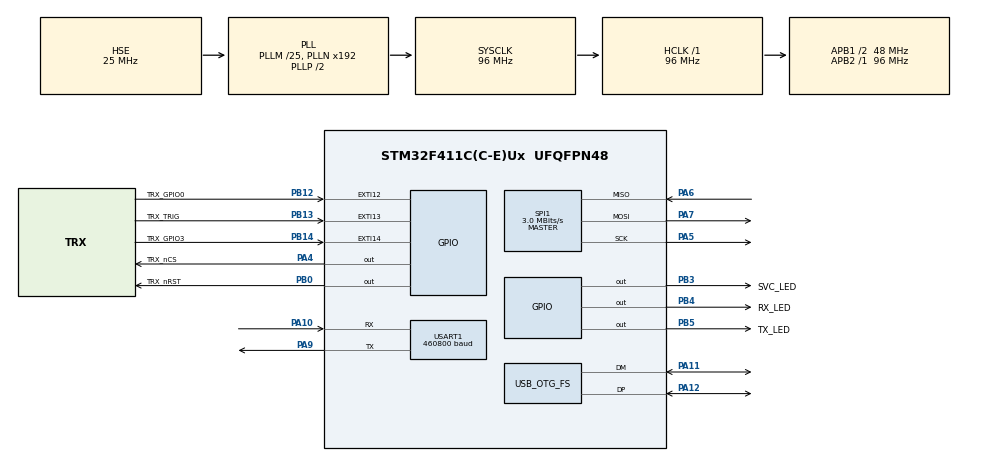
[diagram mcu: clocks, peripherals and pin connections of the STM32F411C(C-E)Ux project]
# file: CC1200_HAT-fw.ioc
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Dma.Request0=USART1_RX
Dma.Request1=USART1_TX
Dma.USART1_RX.0.Direction=DMA_PERIPH_TO_MEMORY
Dma.USART1_RX.0.FIFOMode=DMA_FIFOMODE_DISABLE
Dma.USART1_RX.0.Instance=DMA2_Stream2
Dma.USART1_RX.0.MemDataAlignment=DMA_MDATAALIGN_BYTE
Dma.USART1_RX.0.MemInc=DMA_MINC_ENABLE
Dma.USART1_RX.0.Mode=DMA_CIRCULAR
Dma.USART1_RX.0.PeriphDataAlignment=DMA_PDATAALIGN_BYTE
Dma.USART1_RX.0.PeriphInc=DMA_PINC_DISABLE
Dma.USART1_RX.0.Priority=DMA_PRIORITY_LOW
Dma.USART1_TX.1.Direction=DMA_MEMORY_TO_PERIPH
Dma.USART1_TX.1.FIFOMode=DMA_FIFOMODE_DISABLE
Dma.USART1_TX.1.Instance=DMA2_Stream7
Dma.USART1_TX.1.MemDataAlignment=DMA_MDATAALIGN_BYTE
Dma.USART1_TX.1.MemInc=DMA_MINC_ENABLE
Dma.USART1_TX.1.Mode=DMA_NORMAL
Dma.USART1_TX.1.PeriphDataAlignment=DMA_PDATAALIGN_BYTE
Dma.USART1_TX.1.PeriphInc=DMA_PINC_DISABLE
Dma.USART1_TX.1.Priority=DMA_PRIORITY_LOW
Mcu.Family=STM32F4
Mcu.Name=STM32F411C(C-E)Ux
Mcu.Package=UFQFPN48
NVIC.DMA2_Stream2_IRQn=true\:0\:0\:false\:false\:true\:false\:true\:true
NVIC.DMA2_Stream7_IRQn=true\:0\:0\:false\:false\:true\:false\:true\:true
NVIC.EXTI15_10_IRQn=true\:0\:0\:true\:false\:true\:true\:true\:true
NVIC.PriorityGroup=NVIC_PRIORITYGROUP_4
NVIC.SPI1_IRQn=true\:0\:0\:true\:false\:true\:true\:true\:true
NVIC.TIM1_TRG_COM_TIM11_IRQn=true\:0\:0\:true\:false\:true\:true\:true\:true
NVIC.TIM1_UP_TIM10_IRQn=true\:2\:0\:true\:false\:true\:true\:true\:true
NVIC.USART1_IRQn=true\:1\:0\:true\:false\:true\:true\:true\:true
PA10.Mode=Asynchronous
PA10.Signal=USART1_RX
PA11.Mode=Device_Only
PA11.Signal=USB_OTG_FS_DM
PA12.Mode=Device_Only
PA12.Signal=USB_OTG_FS_DP
PA13.Mode=Serial_Wire
PA13.Signal=SYS_JTMS-SWDIO
PA14.Mode=Serial_Wire
PA14.Signal=SYS_JTCK-SWCLK
PA4.GPIO_Label=TRX_nCS
PA4.GPIO_Speed=GPIO_SPEED_FREQ_VERY_HIGH
PA4.Signal=GPIO_Output
PA5.Mode=Full_Duplex_Master
PA5.Signal=SPI1_SCK
PA6.Mode=Full_Duplex_Master
PA6.Signal=SPI1_MISO
PA7.Mode=Full_Duplex_Master
PA7.Signal=SPI1_MOSI
PA9.Mode=Asynchronous
PA9.Signal=USART1_TX
PB0.GPIO_Label=TRX_nRST
PB0.GPIO_Speed=GPIO_SPEED_FREQ_VERY_HIGH
PB0.Signal=GPIO_Output
PB12.GPIO_Label=TRX_GPIO0
PB12.Signal=GPXTI12
PB13.GPIO_Label=TRX_TRIG
PB13.Signal=GPXTI13
PB14.GPIO_Label=TRX_GPIO3
PB14.GPIO_ModeDefaultEXTI=GPIO_MODE_IT_RISING
PB14.Signal=GPXTI14
PB3.GPIO_Label=SVC_LED
PB3.GPIO_Speed=GPIO_SPEED_FREQ_VERY_HIGH
PB3.Signal=GPIO_Output
PB4.GPIO_Label=RX_LED
PB4.GPIO_Speed=GPIO_SPEED_FREQ_VERY_HIGH
PB4.Signal=GPIO_Output
PB5.GPIO_Label=TX_LED
PB5.GPIO_Speed=GPIO_SPEED_FREQ_VERY_HIGH
PB5.Signal=GPIO_Output
PH0\ -\ OSC_IN.Mode=HSE-External-Oscillator
PH0\ -\ OSC_IN.Signal=RCC_OSC_IN
PH1\ -\ OSC_OUT.Mode=HSE-External-Oscillator
PH1\ -\ OSC_OUT.Signal=RCC_OSC_OUT
ProjectManager.HeapSize=0x200
ProjectManager.StackSize=0x400
ProjectManager.TargetToolchain=STM32CubeIDE
RCC.48MHZClocksFreq_Value=48000000
RCC.AHBFreq_Value=96000000
RCC.APB1CLKDivider=RCC_HCLK_DIV2
RCC.APB1Freq_Value=48000000
RCC.APB1TimFreq_Value=96000000
RCC.APB2Freq_Value=96000000
RCC.APB2TimFreq_Value=96000000
RCC.CortexFreq_Value=96000000
RCC.HCLKFreq_Value=96000000
RCC.HSE_VALUE=25000000
RCC.HSI_VALUE=16000000
RCC.LSE_VALUE=32768
RCC.PLLM=25
RCC.SYSCLKFreq_VALUE=96000000
RCC.SYSCLKSource=RCC_SYSCLKSOURCE_PLLCLK
RCC.VCOOutputFreq_Value=192000000
SPI1.BaudRatePrescaler=SPI_BAUDRATEPRESCALER_32
SPI1.CalculateBaudRate=3.0 MBits/s
SPI1.Direction=SPI_DIRECTION_2LINES
SPI1.Mode=SPI_MODE_MASTER
SPI1.VirtualType=VM_MASTER
TIM10.Period=20-1
TIM10.Prescaler=9600-1
TIM11.Period=10-1
TIM11.Prescaler=400-1
USART1.BaudRate=460800
USART1.VirtualMode=VM_ASYNC
USB_OTG_FS.VirtualMode=Device_Only
VP_TIM10_VS_ClockSourceINT.Mode=Enable_Timer
VP_TIM11_VS_ClockSourceINT.Mode=Enable_Timer
board=custom

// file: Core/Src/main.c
/* USER CODE BEGIN Header */
/**
  ******************************************************************************
  * @file           : main.c
  * @brief          : Main program body
  ******************************************************************************
  * @attention
  *
  * Copyright (c) 2024 STMicroelectronics.
  * All rights reserved.
  *
  * This software is licensed under terms that can be found in the LICENSE file
  * in the root directory of this software component.
  * If no LICENSE file comes with this software, it is provided AS-IS.
  *
  ******************************************************************************
  */
/* USER CODE END Header */
#include "main.h"

/* USER CODE BEGIN Includes */
#include <math.h>
#include <string.h>
#include <stdio.h>
#include <stdarg.h>

#include "interface_cmds.h"
#include "enums.h"
#include "cc1200.h"
/* USER CODE END Includes */

/* USER CODE BEGIN PD */
#define IDENT_STR				"CC1200-HAT 420-450 MHz\nFW v2.3 by Wojciech SP5WWP"
#define UART_LONG_BUF_SIZE		1024				//buffer length for UART (baseband transfers)
#define UART_SHORT_BUF_SIZE		128					//buffer length for UART
#define SHORT_TXQ_SIZE			8					//TX queue length (short messages)
#define LONG_TXQ_SIZE   		3					//TX queue length (baseband transfers) - ring holds LONG_TXQ_SIZE-1
#define BSB_SIZE				960					//size of baseband chunks
#define BSB_TX_BUFF_SIZE		(10*BSB_SIZE)		//large buffer for baseband
/* USER CODE END PD */

/* USER CODE BEGIN PM */
#define FIX_TIMER_TRIGGER(handle_ptr) (__HAL_TIM_CLEAR_FLAG(handle_ptr, TIM_SR_UIF))
/* USER CODE END PM */

SPI_HandleTypeDef hspi1;

TIM_HandleTypeDef htim10;
TIM_HandleTypeDef htim11;

UART_HandleTypeDef huart1;
DMA_HandleTypeDef hdma_usart1_rx;
DMA_HandleTypeDef hdma_usart1_tx;

PCD_HandleTypeDef hpcd_USB_OTG_FS;

/* USER CODE BEGIN PV */
//main loop counter
uint32_t rev_cnt;

//device config
trx_data_t trx_data;										//CC1200 config

//device state
uint32_t dev_err = ERR_OK;									//default state - no error

//buffers and interface stuff
uint8_t uart_rx_buf[UART_LONG_BUF_SIZE];					//DMA UART RX buffer
uint8_t rxb[UART_LONG_BUF_SIZE];							//packet data UART RX buffer
volatile uint16_t rx_count;
volatile uint16_t rx_expected;
uint16_t uart_rx_tail;										//for the UART RX ring buffer
volatile uint8_t uart_rx_timeout;							//inter-byte timeout elapsed (set by TIM10)
volatile uint8_t uart_rx_restart;							//UART RX DMA needs restarting (set by error callback)

enum txq_inflight_t											//which UART TX queue owns the ongoing DMA transfer
{
	TXQ_NONE,
	TXQ_SHORT,
	TXQ_LONG
};

volatile enum txq_inflight_t tx_inflight = TXQ_NONE;

typedef struct												//TX queue - short packets
{
	uint8_t  data[UART_SHORT_BUF_SIZE];
	uint16_t len;
} txq_queue_t;

txq_queue_t txq[SHORT_TXQ_SIZE];							//TX queue - short packets

volatile uint8_t txq_head;
volatile uint8_t txq_tail;

typedef struct												//TX queue - long packets
{
    uint8_t data[UART_LONG_BUF_SIZE];
    uint16_t len;
} bsbq_queue_t;

bsbq_queue_t bsbq[LONG_TXQ_SIZE];							//TX queue - long packets

volatile uint8_t bsbq_head;
volatile uint8_t bsbq_tail;

uint8_t bsb_rx[2*BSB_SIZE];									//rx samples
volatile uint8_t rx_pend;									//pending rx sample read?
uint16_t rx_num_wr;

uint8_t circ_bsb_tx_buff[BSB_TX_BUFF_SIZE];
volatile uint16_t circ_bsb_buff_tail;
volatile uint16_t circ_bsb_buff_head;

volatile enum trx_state_t trx_state = TRX_IDLE;				//transmitter state

//misc
uint8_t dbg_enabled = 0;									//debug strings enabled?
char dbg_msg[128];
/* USER CODE END PV */

void SystemClock_Config(void);
static void MX_GPIO_Init(void);
static void MX_DMA_Init(void);
static void MX_SPI1_Init(void);
static void MX_USART1_UART_Init(void);
static void MX_USB_OTG_FS_PCD_Init(void);
static void MX_TIM10_Init(void);
static void MX_TIM11_Init(void);

/* USER CODE BEGIN 0 */
void set_uart_timeout(uint8_t ms)
{
	TIM10->ARR = (uint32_t)ms*10 - 1;
}

//start the next queued UART transfer if the UART is idle
//must not be preempted by the UART/DMA interrupts - call from an ISR or via uart_tx_kick_safe()
static void uart_tx_kick(void)
{
	if (tx_inflight != TXQ_NONE)
		return;

	//short responses first - they are tiny and the host is usually waiting for them
	if (txq_tail != txq_head)
	{
		tx_inflight = TXQ_SHORT;
		if (HAL_UART_Transmit_DMA(&huart1, txq[txq_tail].data, txq[txq_tail].len) != HAL_OK)
			tx_inflight = TXQ_NONE; //leave it queued, retried on the next kick
	}
	else if (bsbq_tail != bsbq_head)
	{
		tx_inflight = TXQ_LONG;
		if (HAL_UART_Transmit_DMA(&huart1, bsbq[bsbq_tail].data, bsbq[bsbq_tail].len) != HAL_OK)
			tx_inflight = TXQ_NONE;
	}
}

//same as above, safe to call from the main loop
static void uart_tx_kick_safe(void)
{
	uint32_t primask = __get_PRIMASK();
	__disable_irq();
	uart_tx_kick();
	__set_PRIMASK(primask);
}

void interface_resp_short(enum cmd_t cid, const uint8_t *resp, uint16_t pld_len)
{
	uint16_t len = pld_len+3;

	//drop oversized
	if (len > UART_SHORT_BUF_SIZE)
		return;

	//next queue entry
	uint8_t next = (txq_head+1) % SHORT_TXQ_SIZE;

	//queue full, drop packet
	if (next == txq_tail)
		return;

	txq[txq_head].data[0] = cid;
	memcpy(&txq[txq_head].data[1], (uint8_t*)&len, sizeof(uint16_t));
	memcpy(&txq[txq_head].data[3], resp, pld_len);
	txq[txq_head].len = len;
	__DMB();
	txq_head = next;

	//if UART TX is idle, start transmission
	uart_tx_kick_safe();
}

void interface_resp_long(enum cmd_t cid, const uint8_t *resp, uint16_t pld_len)
{
	uint16_t len = pld_len+3;

	//drop oversized
	if (len > UART_LONG_BUF_SIZE)
		return;

	//next queue entry
	uint8_t next = (bsbq_head+1) % LONG_TXQ_SIZE;

	//queue full, drop packet
	if (next == bsbq_tail)
		return;

	bsbq[bsbq_head].data[0] = cid;
	memcpy(&bsbq[bsbq_head].data[1], (uint8_t*)&len, sizeof(uint16_t));
	memcpy(&bsbq[bsbq_head].data[3], resp, pld_len);
	bsbq[bsbq_head].len = len;
	__DMB();
	bsbq_head = next;

	//if UART TX is idle, start transmission
	uart_tx_kick_safe();
}

void interface_resp_byte(enum cmd_t cmd, uint8_t resp)
{
	//single-byte response (4 bytes total)
	interface_resp_short(cmd, &resp, 1);
}

void dbg_txt(const char *s)
{
	//send short text messages for debugging
	if (dbg_enabled)
		interface_resp_short(CMD_DBG_TXT, (uint8_t*)s, strlen(s));
}

//begin a burst read of CFM_RX_DATA_OUT - CS stays low until rx_burst_end()
static void rx_burst_begin(void)
{
	uint8_t header[2] = {0x2F|0xC0, 0x7D};	//CFM_RX_DATA_OUT, burst access
	trx_set_CS(0);							//CS low
	HAL_SPI_Transmit(&hspi1, header, 2, 10);	//send 2-byte header
}

static void rx_burst_end(void)
{
	trx_set_CS(1);
}

//number of baseband samples waiting in the TX buffer
static uint16_t tx_buff_fill(void)
{
	uint16_t tail = circ_bsb_buff_tail;
	uint16_t head = circ_bsb_buff_head;
	return (head - tail + BSB_TX_BUFF_SIZE) % BSB_TX_BUFF_SIZE;
}

void parse_cmd(const uint8_t *cmd_buff)
{
	uint8_t cid = cmd_buff[0];
	int16_t pld_len; memcpy((uint8_t*)&pld_len, &cmd_buff[1], sizeof(pld_len)); pld_len-=3;
	const uint8_t *pld = &cmd_buff[3];

	float f_val;
	int8_t i8_val;
	uint8_t u8_val;
	int16_t i16_val;
	//uint16_t u16_val;
	//int32_t i32_val;
	uint32_t u32_val;

	/*sprintf(dbg_msg, "CMD%d LEN%d", cid, pld_len);
	dbg_txt(dbg_msg);*/

	switch (cid)
	{
		case CMD_PING:
			interface_resp_short(cid, (uint8_t*)&dev_err, sizeof(dev_err));
		break;

		case CMD_SET_RX_FREQ:
			if (pld_len == sizeof(uint32_t))
			{
				memcpy((uint8_t*)&u32_val, pld, sizeof(uint32_t));
			}
			else
			{
				interface_resp_byte(cid, ERR_CMD_MALFORM);
				break;
			}

			if(u32_val>=420e6 && u32_val<=450e6)
			{
				trx_data.rx_frequency = u32_val;
				interface_resp_byte(cid, ERR_OK);
			}
			else
			{
				interface_resp_byte(cid, ERR_RANGE);
			}
		break;

		case CMD_SET_TX_FREQ:
			if (pld_len == sizeof(uint32_t))
			{
				memcpy((uint8_t*)&u32_val, pld, sizeof(uint32_t));
			}
			else
			{
				interface_resp_byte(cid, ERR_CMD_MALFORM);
				break;
			}

			if(u32_val>=420e6 && u32_val<=450e6)
			{
				trx_data.tx_frequency = u32_val;
				interface_resp_byte(cid, ERR_OK);
			}
			else
			{
				interface_resp_byte(cid, ERR_RANGE);
			}
		break;

		case CMD_SET_TX_POWER:
			if (pld_len == 1)
			{
				i8_val = *(int8_t*)pld;
			}
			else
			{
				interface_resp_byte(cid, ERR_CMD_MALFORM);
				break;
			}

			f_val = i8_val*0.25f; //convert TX power to dBm
			if(f_val>=-16.0f && f_val<=14.0f) //-16 to 14 dBm (raw values of 0x03 to 0x3F)
			{
				trx_data.pwr = floorf((f_val+18.0f)*2.0f-1.0f);
				//power setting is now stored in the struct
				//the change will be applied at the next RX->TX switch
				interface_resp_byte(cid, ERR_OK);
			}
			else
			{
				interface_resp_byte(cid, ERR_RANGE);
			}
		break;

		case CMD_SET_FREQ_CORR:
			if (pld_len == sizeof(int16_t))
			{
				memcpy((uint8_t*)&i16_val, pld, sizeof(int16_t));
			}
			else
			{
				interface_resp_byte(cid, ERR_CMD_MALFORM);
				break;
			}

			if(i16_val>=-200 && i16_val<=200) //keep it within a sane range
			{
				trx_data.fcorr = i16_val;
				interface_resp_byte(cid, ERR_OK);
			}
			else
			{
				interface_resp_byte(cid, ERR_RANGE);
			}
		break;

		case CMD_SET_AFC:
			if (pld_len == 1)
			{
				u8_val = *pld;
			}
			else
			{
				interface_resp_byte(cid, ERR_CMD_MALFORM);
				break;
			}

			//the change will be applied at the next TX->RX switch
			trx_data.afc = u8_val==0 ? 0 : 1;
			interface_resp_byte(cid, ERR_OK);
		break;

		case CMD_TX_START:
			if (pld_len == 1)
			{
				u8_val = *pld;
			}
			else
			{
				interface_resp_byte(cid, ERR_CMD_MALFORM);
				break;
			}

			if(u8_val) //start
			{
				if(trx_state==TRX_IDLE && dev_err==ERR_OK)
				{
					//reset the buffer and state machine
					memset(circ_bsb_tx_buff, 0, sizeof(circ_bsb_tx_buff));
					circ_bsb_buff_tail = 0;
					circ_bsb_buff_head = 0;

					//config CC1200
					trx_state = TRX_TX;
					trx_config(MODE_TX, trx_data);
					HAL_Delay(10);

					//switch CC1200 to TX
					trx_write_cmd(STR_STX);

					//initiate samples transfer (write)
					uint8_t header[2]={0x2F|0x40, 0x7E}; //CFM_TX_DATA_IN, burst access
					trx_set_CS(0); //CS low
					HAL_SPI_Transmit(&hspi1, header, 2, 2); //send 2-byte header

					//signal TX state with LEDs
					HAL_GPIO_WritePin(TX_LED_GPIO_Port, TX_LED_Pin, 1);
					HAL_GPIO_WritePin(RX_LED_GPIO_Port, RX_LED_Pin, 0);

					//enable external baseband sample triggering
					HAL_NVIC_EnableIRQ(EXTI15_10_IRQn);

					//reply
					interface_resp_byte(cid, ERR_OK);
				}
				else
				{
					if (dev_err!=ERR_OK)
						interface_resp_byte(cid, ERR_OTHER);
					else
						interface_resp_byte(cid, ERR_BUSY);
				}
			}
			else //stop
			{
				//note: samples still in the TX buffer are discarded here
				//hosts can poll CMD_GET_BSB_BUFF until it reads 0 before stopping
				if(trx_state==TRX_TX && dev_err==ERR_OK)
				{
					//disable external baseband sample triggering
					HAL_NVIC_DisableIRQ(EXTI15_10_IRQn);

					//finalize samples transfer
					trx_set_CS(1); //CS high

					//switch state
					trx_state = TRX_IDLE;

					//config CC1200
					trx_config(MODE_RX, trx_data);
					HAL_Delay(10);

					//switch CC1200 to RX state
					trx_write_cmd(STR_SRX);

					//turn off the TX LED
					HAL_GPIO_WritePin(TX_LED_GPIO_Port, TX_LED_Pin, 0);

					//reply
					interface_resp_byte(cid, ERR_OK);
				}
				else
				{
					if (dev_err!=ERR_OK)
						interface_resp_byte(cid, ERR_OTHER);
					else
						interface_resp_byte(cid, ERR_NOP);
				}
			}
		break;

		case CMD_RX_START:
			if (pld_len == 1)
			{
				u8_val = *pld;
			}
			else
			{
				interface_resp_byte(cid, ERR_CMD_MALFORM);
				break;
			}

			if(u8_val) //start
			{
				if(trx_state==TRX_IDLE && dev_err==ERR_OK)
				{
					//reset buffers
					memset(bsb_rx, 0, sizeof(bsb_rx));
					rx_pend = 0;
					rx_num_wr = 0;

					//config CC1200
					trx_config(MODE_RX, trx_data);
					HAL_Delay(10);

					//switch CC1200 to RX
					trx_write_cmd(STR_SRX);

					//initiate samples transfer (readout)
					rx_burst_begin();

					//for some reason, the external signal runs at 75.7582kHz instead of expected 24kHz
					FIX_TIMER_TRIGGER(&htim11);
					TIM11->CNT = 0;
					rx_pend = 0;
					trx_state = TRX_RX;
					HAL_TIM_Base_Start_IT(&htim11);

					//signal RX state with LEDs
					HAL_GPIO_WritePin(RX_LED_GPIO_Port, RX_LED_Pin, 1);
					HAL_GPIO_WritePin(TX_LED_GPIO_Port, TX_LED_Pin, 0);

					//reply
					interface_resp_byte(cid, ERR_OK);
				}
				else
				{
					if (dev_err!=ERR_OK)
						interface_resp_byte(cid, ERR_OTHER);
					else
						interface_resp_byte(cid, ERR_BUSY);
				}
			}
			else //stop
			{
				if (trx_state==TRX_RX && dev_err==ERR_OK)
				{
					//disable read baseband trigger signal
					HAL_TIM_Base_Stop_IT(&htim11);

					//switch device state (before finalizing, so a stale tick is ignored)
					trx_state = TRX_IDLE;
					rx_pend = 0;

					//finalize SPI samples transfer
					rx_burst_end();

					//turn off the RX LED
					HAL_GPIO_WritePin(RX_LED_GPIO_Port, RX_LED_Pin, 0);

					//reply
					interface_resp_byte(cid, ERR_OK); //OK
				}
				else
				{
					if (dev_err!=ERR_OK)
						interface_resp_byte(cid, ERR_OTHER);
					else
						interface_resp_byte(cid, ERR_NOP);
				}
			}
		break;

		case CMD_TX_DATA:
			if (pld_len != BSB_SIZE)
			{
				interface_resp_byte(cid, ERR_CMD_MALFORM);
			}
			else if (trx_state != TRX_TX)
			{
				interface_resp_byte(cid, ERR_NOP);
			}
			//enough space in the circular buffer?
			else if ((circ_bsb_buff_tail - circ_bsb_buff_head - 1 + BSB_TX_BUFF_SIZE) % BSB_TX_BUFF_SIZE >= BSB_SIZE)
			{
				u32_val = BSB_TX_BUFF_SIZE - circ_bsb_buff_head;

				if (u32_val >= BSB_SIZE)
				{
					memcpy(&circ_bsb_tx_buff[circ_bsb_buff_head], pld, BSB_SIZE);
				}
				else
				{
					memcpy(&circ_bsb_tx_buff[circ_bsb_buff_head], pld, u32_val);
					memcpy(&circ_bsb_tx_buff[0], pld + u32_val, BSB_SIZE - u32_val);
				}

				__DMB(); //samples must be in memory before the ISR can see the new head
				circ_bsb_buff_head = (circ_bsb_buff_head+BSB_SIZE) % BSB_TX_BUFF_SIZE;
				interface_resp_byte(cid, ERR_OK);
			}
			else
			{
				interface_resp_byte(cid, ERR_BUFF_FULL);
			}
		break;

		case CMD_DBG_ENABLE:
			if (pld_len == 1)
			{
				dbg_enabled = *pld ? 1 : 0;
				interface_resp_byte(cid, ERR_OK);
			}
			else
			{
				interface_resp_byte(cid, ERR_CMD_MALFORM);
			}
		break;

		case CMD_GET_IDENT:
			//reply with the device's IDENT string
			interface_resp_short(cid, (uint8_t*)IDENT_STR, strlen(IDENT_STR));
		break;

		case CMD_GET_CAPS:
			//so far, the CC1200-HAT can do FM only, half-duplex
			interface_resp_byte(cid, 0x02);
		break;

		case CMD_GET_RX_FREQ:
			interface_resp_short(cid, (uint8_t*)&trx_data.rx_frequency, sizeof(uint32_t));
		break;

		case CMD_GET_TX_FREQ:
			interface_resp_short(cid, (uint8_t*)&trx_data.tx_frequency, sizeof(uint32_t));
		break;

		case CMD_GET_TX_POWER:
			//same units as CMD_SET_TX_POWER: signed, 0.25 dB steps
			//PA_POWER_RAMP=pwr -> (pwr+1)/2-18 dBm -> *4
			i8_val = (int8_t)(((int16_t)trx_data.pwr+1)*2 - 72);
			interface_resp_byte(cid, (uint8_t)i8_val);
		break;

		case CMD_GET_FREQ_CORR:
			interface_resp_short(cid, (uint8_t*)&trx_data.fcorr, sizeof(int16_t));
		break;

		case CMD_GET_BSB_BUFF:
			//TX buffer fill level in 960-sample chunks (rounded up), 0 = empty
			//(single byte, so existing hosts parse it as before)
			interface_resp_byte(cid, (tx_buff_fill() + BSB_SIZE - 1) / BSB_SIZE);
		break;

		case CMD_GET_RSSI:
			if (trx_state == TRX_TX)
			{
				//SPI is owned by the TX sample ISR; RSSI is meaningless in TX anyway
				u8_val = 0x80; //-128 = "RSSI not valid" in CC1200 terms
			}
			else if (trx_state == TRX_RX)
			{
				//the baseband readout holds CS low - pause it, read RSSI, resume
				//(the main loop is the only SPI user in RX, so this cannot race)
				rx_burst_end();
				u8_val = trx_read_reg(0x2F71); //RSSI1
				rx_burst_begin();
			}
			else
			{
				u8_val = trx_read_reg(0x2F71); //RSSI1
			}
			interface_resp_byte(cid, u8_val);
		break;

		default:
			//always answer, so the host doesn't have to wait for a timeout
			interface_resp_byte(cid, ERR_CMD_MALFORM);
		break;
	}
}

uint16_t uart_rx_get_head(void)
{
	uint16_t head = UART_LONG_BUF_SIZE - huart1.hdmarx->Instance->NDTR;

	//NDTR may momentarily read 0 at the circular wrap
	if (head >= UART_LONG_BUF_SIZE)
		head = 0;

	return head;
}

void push_byte(uint8_t *dst_buff, uint8_t inp_byte)
{
	static uint8_t buff[UART_LONG_BUF_SIZE] = {0};

	//1st byte - CID
	if (rx_count == 0)
	{
		buff[0] = inp_byte;
		rx_count = 1;
		rx_expected = 0;
		return;
	}

	//2nd byte - packet length (LSB)
	if (rx_count == 1)
	{
		buff[1] = inp_byte;
		rx_count = 2;
		return;
	}

	//3rd byte - packet length (MSB)
	if (rx_count == 2)
	{
		buff[2] = inp_byte;
		uint16_t l;

		memcpy((uint8_t*)&l, &buff[1], sizeof(l));

		//length includes the 3-byte header and cannot be larger than the buffer
		if (l < 3 || l > sizeof(buff))
		{
			//invalid length: reset
			rx_count = 0;
			rx_expected = 0;
			return;
		}

		rx_count = 3;
		rx_expected = l;  //total expected bytes: cid+len+payload

		if (rx_expected != rx_count)
			return;
	}

	//4th byte and beyond - store payload bytes
	if (rx_count != rx_expected && rx_count < sizeof(buff))
	{
		buff[rx_count++] = inp_byte;
	}

	//finish work if rx complete
	if (rx_expected > 0 && rx_count == rx_expected)
	{
		//copy to dst_buff[] buffer
		memcpy(dst_buff, buff, rx_expected);

		//parse the received packet
		parse_cmd(dst_buff);

		//reset state machine
		rx_count = 0;
		rx_expected = 0;
	}
}

void process_uart_dma(uint16_t *tail)
{
	//UART RX DMA was aborted by a line error - restart it (done here, not in the ISR,
	//so the ring buffer tail is never changed under our feet)
	if (uart_rx_restart)
	{
		uart_rx_restart = 0;
		rx_count = 0;
		rx_expected = 0;
		*tail = 0;
		if (HAL_UART_Receive_DMA(&huart1, uart_rx_buf, UART_LONG_BUF_SIZE) != HAL_OK)
			uart_rx_restart = 1; //retry on the next pass
		return;
	}

	uint16_t head = uart_rx_get_head();

	while (*tail != head)
	{
		uint8_t b = uart_rx_buf[*tail];

		(*tail)++;
		if (*tail >= UART_LONG_BUF_SIZE)
			*tail = 0;

		//inter-byte timeout elapsed since the previous byte - drop the partial frame
		if (uart_rx_timeout)
		{
			uart_rx_timeout = 0;
			rx_count = 0;
			rx_expected = 0;
		}

		push_byte(rxb, b);

		//restart the inter-byte timeout
		//(clear the flag too - it may have been set while parse_cmd() was blocking)
		TIM10->CNT = 0;
		uart_rx_timeout = 0;
		if (htim10.State != HAL_TIM_STATE_BUSY)
			HAL_TIM_Base_Start_IT(&htim10);
	}
}

//interrupts
void HAL_TIM_PeriodElapsedCallback(TIM_HandleTypeDef *htim)
{
	TIM_TypeDef* tim = htim->Instance;

	//UART data RX timeout - only flag it, the parser state is owned by the main loop
	if(tim==TIM10)
	{
		uart_rx_timeout = 1;
		HAL_TIM_Base_Stop_IT(&htim10);
	}

	//24kHz baseband timer - workaround
	else if(tim==TIM11)
	{
		rx_pend = 1;
	}
}

void HAL_GPIO_EXTI_Callback(uint16_t GPIO_Pin)
{
	if(GPIO_Pin==TRX_TRIG_Pin)
	{
		if (trx_state == TRX_TX)
		{
			if (circ_bsb_buff_tail != circ_bsb_buff_head)
			{
				HAL_SPI_Transmit_IT(&hspi1, &circ_bsb_tx_buff[circ_bsb_buff_tail], 1);

				circ_bsb_buff_tail = (circ_bsb_buff_tail + 1) % BSB_TX_BUFF_SIZE;
			}
			else
			{
				//buffer empty, send zeros
				static uint8_t zero = 0;
				HAL_SPI_Transmit_IT(&hspi1, &zero, 1);
			}
		}
	}

	/*else if(GPIO_Pin==TRX_GPIO3_Pin) //carrier sense test
	{
		if(TRX_GPIO3_GPIO_Port->IDR&(1U<<14))
		{
			SVC_LED_GPIO_Port->BSRR=(uint32_t)SVC_LED_Pin;
		}
		else
		{
			SVC_LED_GPIO_Port->BSRR=(uint32_t)SVC_LED_Pin<<16;
		}
	}*/
}

void HAL_UART_TxCpltCallback(UART_HandleTypeDef *huart)
{
	if (huart == &huart1)
	{
		//retire exactly the transfer that just finished
		if (tx_inflight == TXQ_SHORT)
			txq_tail = (txq_tail+1) % SHORT_TXQ_SIZE;
		else if (tx_inflight == TXQ_LONG)
			bsbq_tail = (bsbq_tail+1) % LONG_TXQ_SIZE;

		tx_inflight = TXQ_NONE;

		//start the next one, if any (at most one transfer is ever started)
		uart_tx_kick();
	}
}

void HAL_UART_ErrorCallback(UART_HandleTypeDef *huart)
{
	if (huart == &huart1)
	{
		//HAL aborts the circular RX DMA on any framing/noise/overrun error
		//and leaves RxState READY - schedule a restart from the main loop
		if (huart->RxState == HAL_UART_STATE_READY)
			uart_rx_restart = 1;

		//a TX DMA error ends the transfer without TxCpltCallback - drop that packet and move on
		if (huart->gState == HAL_UART_STATE_READY && tx_inflight != TXQ_NONE)
			HAL_UART_TxCpltCallback(huart);
	}
}
/* USER CODE END 0 */

int main(void)
{

  /* MCU Configuration--------------------------------------------------------*/

  /* Reset of all peripherals, Initializes the Flash interface and the Systick. */
  HAL_Init();

  /* Configure the system clock */
  SystemClock_Config();

  /* Initialize all configured peripherals */
  MX_GPIO_Init();
  MX_DMA_Init();
  MX_SPI1_Init();
  MX_USART1_UART_Init();
  MX_USB_OTG_FS_PCD_Init();
  MX_TIM10_Init();
  MX_TIM11_Init();
  /* USER CODE BEGIN 2 */
  //enable FPU if present
  #if (__FPU_PRESENT == 1) && (__FPU_USED == 1)
  SCB->CPACR |= ((3UL << 10*2)|(3UL << 11*2));  /* set CP10 and CP11 Full Access */
  #endif

  //set UART timeout
  set_uart_timeout(2); //2ms

  //reset the C1200
  HAL_Delay(100);
  trx_reset();

  trx_detect(trx_data.name);

  /*if(strcmp(trx_data.name, "CC1200")==0)
  {
	  while(1)
	  {
		  HAL_GPIO_WritePin(SVC_LED_GPIO_Port, SVC_LED_Pin, 1);
		  HAL_Delay(20);
		  HAL_GPIO_WritePin(SVC_LED_GPIO_Port, SVC_LED_Pin, 0);
		  HAL_Delay(2000);
	  }
  }*/

  //default settings
  trx_data.rx_frequency=433475000;			//default
  trx_data.tx_frequency=433475000;			//default
  trx_data.fcorr=0;							//frequency correction (arbitrary units)
  trx_data.afc=0;							//automatic frequency control (AFC)
  trx_data.pwr=3;							//3 to 63 (arbitrary units)

  //config the CC1200
  trx_config(MODE_RX, trx_data);
  HAL_Delay(10);

  //switch the CC1200 to RX mode
  trx_write_cmd(STR_SRX);
  HAL_Delay(50);

  //check if CC1200 PLL locked
  trx_data.pll_locked = ((trx_read_reg(0x2F8D)^0x80)&0x81)==0x81; //FSCAL_CTRL=1 and FSCAL_CTRL_NOT_USED=0

  if(!trx_data.pll_locked)
  {
	  dev_err|=(1UL<<ERR_TRX_PLL);
  }

  if(strstr((char*)trx_data.name, "unknown")!=NULL)
  {
  	  dev_err|=(1UL<<ERR_TRX_SPI);
  }

  //enable interface comms over UART1
  HAL_UART_Receive_DMA(&huart1, uart_rx_buf, UART_LONG_BUF_SIZE);
  FIX_TIMER_TRIGGER(&htim10);

  /* USER CODE END 2 */

  /* Infinite loop */
  /* USER CODE BEGIN WHILE */
  while(1)
  {
	  //main loop "revolution" counter
	  rev_cnt++;

	  if (rev_cnt%3900000UL == 0)
	  {
		  HAL_GPIO_WritePin(SVC_LED_GPIO_Port, SVC_LED_Pin, 1);
	  }
	  else if (rev_cnt%4000000UL == 0)
	  {
		  HAL_GPIO_WritePin(SVC_LED_GPIO_Port, SVC_LED_Pin, 0);
		  rev_cnt = 0;
	  }

	  //handle incoming data over UART
	  process_uart_dma(&uart_rx_tail);

	  if (rx_pend)
	  {
		  //clear first, so a tick arriving while we read isn't lost
		  rx_pend = 0;

		  //ignore a stale tick left over after RX was stopped
		  if (trx_state == TRX_RX)
		  {
			  uint8_t tmp=0xFF; //dummy value for SPI readout
			  HAL_SPI_TransmitReceive(&hspi1, &tmp, &bsb_rx[rx_num_wr], 1, 2);
			  rx_num_wr++;

			  //send a chunk of samples when ready
			  if (rx_num_wr == BSB_SIZE)
			  {
				  interface_resp_long(CMD_RX_DATA, &bsb_rx[0], BSB_SIZE);
			  }
			  else if (rx_num_wr == 2*BSB_SIZE)
			  {
				  interface_resp_long(CMD_RX_DATA, &bsb_rx[BSB_SIZE], BSB_SIZE);
			  }

			  rx_num_wr %= 2*BSB_SIZE;
		  }
	  }

	  //safety net: restart UART TX if a transfer start was ever refused
	  uart_tx_kick_safe();
    /* USER CODE END WHILE */

  }
}

void SystemClock_Config(void)
{
  RCC_OscInitTypeDef RCC_OscInitStruct = {0};
  RCC_ClkInitTypeDef RCC_ClkInitStruct = {0};

  /** Configure the main internal regulator output voltage
  */
  __HAL_RCC_PWR_CLK_ENABLE();
  __HAL_PWR_VOLTAGESCALING_CONFIG(PWR_REGULATOR_VOLTAGE_SCALE1);

  /** Initializes the RCC Oscillators according to the specified parameters
  * in the RCC_OscInitTypeDef structure.
  */
  RCC_OscInitStruct.OscillatorType = RCC_OSCILLATORTYPE_HSE;
  RCC_OscInitStruct.HSEState = RCC_HSE_ON;
  RCC_OscInitStruct.PLL.PLLState = RCC_PLL_ON;
  RCC_OscInitStruct.PLL.PLLSource = RCC_PLLSOURCE_HSE;
  RCC_OscInitStruct.PLL.PLLM = 25;
  RCC_OscInitStruct.PLL.PLLN = 192;
  RCC_OscInitStruct.PLL.PLLP = RCC_PLLP_DIV2;
  RCC_OscInitStruct.PLL.PLLQ = 4;
  if (HAL_RCC_OscConfig(&RCC_OscInitStruct) != HAL_OK)
  {
    Error_Handler();
  }

  /** Initializes the CPU, AHB and APB buses clocks
  */
  RCC_ClkInitStruct.ClockType = RCC_CLOCKTYPE_HCLK|RCC_CLOCKTYPE_SYSCLK
                              |RCC_CLOCKTYPE_PCLK1|RCC_CLOCKTYPE_PCLK2;
  RCC_ClkInitStruct.SYSCLKSource = RCC_SYSCLKSOURCE_PLLCLK;
  RCC_ClkInitStruct.AHBCLKDivider = RCC_SYSCLK_DIV1;
  RCC_ClkInitStruct.APB1CLKDivider = RCC_HCLK_DIV2;
  RCC_ClkInitStruct.APB2CLKDivider = RCC_HCLK_DIV1;

  if (HAL_RCC_ClockConfig(&RCC_ClkInitStruct, FLASH_LATENCY_3) != HAL_OK)
  {
    Error_Handler();
  }
}

static void MX_SPI1_Init(void)
{

  /* SPI1 parameter configuration*/
  hspi1.Instance = SPI1;
  hspi1.Init.Mode = SPI_MODE_MASTER;
  hspi1.Init.Direction = SPI_DIRECTION_2LINES;
  hspi1.Init.DataSize = SPI_DATASIZE_8BIT;
  hspi1.Init.CLKPolarity = SPI_POLARITY_LOW;
  hspi1.Init.CLKPhase = SPI_PHASE_1EDGE;
  hspi1.Init.NSS = SPI_NSS_SOFT;
  hspi1.Init.BaudRatePrescaler = SPI_BAUDRATEPRESCALER_32;
  hspi1.Init.FirstBit = SPI_FIRSTBIT_MSB;
  hspi1.Init.TIMode = SPI_TIMODE_DISABLE;
  hspi1.Init.CRCCalculation = SPI_CRCCALCULATION_DISABLE;
  hspi1.Init.CRCPolynomial = 10;
  if (HAL_SPI_Init(&hspi1) != HAL_OK)
  {
    Error_Handler();
  }

}

static void MX_TIM10_Init(void)
{

  htim10.Instance = TIM10;
  htim10.Init.Prescaler = 9600-1;
  htim10.Init.CounterMode = TIM_COUNTERMODE_UP;
  htim10.Init.Period = 20-1;
  htim10.Init.ClockDivision = TIM_CLOCKDIVISION_DIV1;
  htim10.Init.AutoReloadPreload = TIM_AUTORELOAD_PRELOAD_DISABLE;
  if (HAL_TIM_Base_Init(&htim10) != HAL_OK)
  {
    Error_Handler();
  }

}

static void MX_TIM11_Init(void)
{

  htim11.Instance = TIM11;
  htim11.Init.Prescaler = 400-1;
  htim11.Init.CounterMode = TIM_COUNTERMODE_UP;
  htim11.Init.Period = 10-1;
  htim11.Init.ClockDivision = TIM_CLOCKDIVISION_DIV1;
  htim11.Init.AutoReloadPreload = TIM_AUTORELOAD_PRELOAD_DISABLE;
  if (HAL_TIM_Base_Init(&htim11) != HAL_OK)
  {
    Error_Handler();
  }

}

static void MX_USART1_UART_Init(void)
{

  huart1.Instance = USART1;
  huart1.Init.BaudRate = 460800;
  huart1.Init.WordLength = UART_WORDLENGTH_8B;
  huart1.Init.StopBits = UART_STOPBITS_1;
  huart1.Init.Parity = UART_PARITY_NONE;
  huart1.Init.Mode = UART_MODE_TX_RX;
  huart1.Init.HwFlowCtl = UART_HWCONTROL_NONE;
  huart1.Init.OverSampling = UART_OVERSAMPLING_16;
  if (HAL_UART_Init(&huart1) != HAL_OK)
  {
    Error_Handler();
  }

}

static void MX_USB_OTG_FS_PCD_Init(void)
{

  hpcd_USB_OTG_FS.Instance = USB_OTG_FS;
  hpcd_USB_OTG_FS.Init.dev_endpoints = 4;
  hpcd_USB_OTG_FS.Init.speed = PCD_SPEED_FULL;
  hpcd_USB_OTG_FS.Init.dma_enable = DISABLE;
  hpcd_USB_OTG_FS.Init.phy_itface = PCD_PHY_EMBEDDED;
  hpcd_USB_OTG_FS.Init.Sof_enable = DISABLE;
  hpcd_USB_OTG_FS.Init.low_power_enable = DISABLE;
  hpcd_USB_OTG_FS.Init.lpm_enable = DISABLE;
  hpcd_USB_OTG_FS.Init.vbus_sensing_enable = DISABLE;
  hpcd_USB_OTG_FS.Init.use_dedicated_ep1 = DISABLE;
  if (HAL_PCD_Init(&hpcd_USB_OTG_FS) != HAL_OK)
  {
    Error_Handler();
  }

}

static void MX_DMA_Init(void)
{

  /* DMA controller clock enable */
  __HAL_RCC_DMA2_CLK_ENABLE();

  /* DMA interrupt init */
  /* DMA2_Stream2_IRQn interrupt configuration */
  HAL_NVIC_SetPriority(DMA2_Stream2_IRQn, 0, 0);
  HAL_NVIC_EnableIRQ(DMA2_Stream2_IRQn);
  /* DMA2_Stream7_IRQn interrupt configuration */
  HAL_NVIC_SetPriority(DMA2_Stream7_IRQn, 0, 0);
  HAL_NVIC_EnableIRQ(DMA2_Stream7_IRQn);

}

static void MX_GPIO_Init(void)
{
  GPIO_InitTypeDef GPIO_InitStruct = {0};

  /* GPIO Ports Clock Enable */
  __HAL_RCC_GPIOH_CLK_ENABLE();
  __HAL_RCC_GPIOA_CLK_ENABLE();
  __HAL_RCC_GPIOB_CLK_ENABLE();

  /*Configure GPIO pin Output Level */
  HAL_GPIO_WritePin(TRX_nCS_GPIO_Port, TRX_nCS_Pin, GPIO_PIN_RESET);

  /*Configure GPIO pin Output Level */
  HAL_GPIO_WritePin(GPIOB, TRX_nRST_Pin|SVC_LED_Pin|RX_LED_Pin|TX_LED_Pin, GPIO_PIN_RESET);

  /*Configure GPIO pin : TRX_nCS_Pin */
  GPIO_InitStruct.Pin = TRX_nCS_Pin;
  GPIO_InitStruct.Mode = GPIO_MODE_OUTPUT_PP;
  GPIO_InitStruct.Pull = GPIO_NOPULL;
  GPIO_InitStruct.Speed = GPIO_SPEED_FREQ_VERY_HIGH;
  HAL_GPIO_Init(TRX_nCS_GPIO_Port, &GPIO_InitStruct);

  /*Configure GPIO pins : TRX_nRST_Pin SVC_LED_Pin RX_LED_Pin TX_LED_Pin */
  GPIO_InitStruct.Pin = TRX_nRST_Pin|SVC_LED_Pin|RX_LED_Pin|TX_LED_Pin;
  GPIO_InitStruct.Mode = GPIO_MODE_OUTPUT_PP;
  GPIO_InitStruct.Pull = GPIO_NOPULL;
  GPIO_InitStruct.Speed = GPIO_SPEED_FREQ_VERY_HIGH;
  HAL_GPIO_Init(GPIOB, &GPIO_InitStruct);

  /*Configure GPIO pins : TRX_GPIO0_Pin TRX_TRIG_Pin TRX_GPIO3_Pin */
  GPIO_InitStruct.Pin = TRX_GPIO0_Pin|TRX_TRIG_Pin|TRX_GPIO3_Pin;
  GPIO_InitStruct.Mode = GPIO_MODE_IT_RISING;
  GPIO_InitStruct.Pull = GPIO_NOPULL;
  HAL_GPIO_Init(GPIOB, &GPIO_InitStruct);

  /* EXTI interrupt init*/
  HAL_NVIC_SetPriority(EXTI15_10_IRQn, 0, 0);
  HAL_NVIC_EnableIRQ(EXTI15_10_IRQn);

  /* USER CODE BEGIN MX_GPIO_Init_2 */
  HAL_NVIC_DisableIRQ(EXTI15_10_IRQn); //immediately disable it, as we don't need it right away
  /* USER CODE END MX_GPIO_Init_2 */
}

void Error_Handler(void)
{
  __disable_irq();
  while (1)
  {
  }
}
